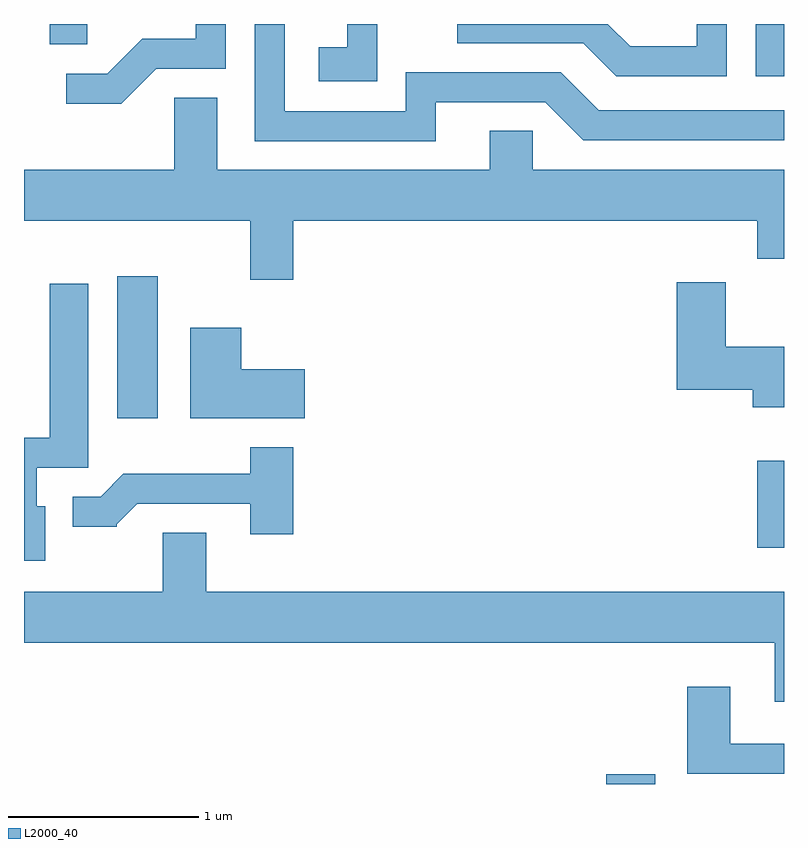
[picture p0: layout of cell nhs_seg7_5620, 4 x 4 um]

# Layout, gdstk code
import gdstk
lib = gdstk.Library(unit=1e-6, precision=1e-09)
def R(c, l, rs):  # rectangles x0, y0, x1, y1
    for r in rs: c.add(gdstk.rectangle(r[:2], r[2:], *l))
def P(c, l, *ps):  # polygons
    for p in ps: c.add(gdstk.Polygon(p, *l))
L2000_40 = (2000, 40)

nhs_seg7_5620 = lib.new_cell('nhs_seg7_5620')
R(nhs_seg7_5620, L2000_40, [(360.676,1700.252,360.934,1700.304), (361.471,1701.496,361.611,1701.954), (358.101,1702.176,358.314,1702.924), (361.461,1703.976,361.611,1704.252), (357.746,1704.146,357.944,1704.252)])
P(nhs_seg7_5620, L2000_40, [(361.309,1704.252),(361.151,1704.252),(361.151,1704.134),(360.802,1704.134),(360.684,1704.252),(359.891,1704.252),(359.891,1704.151),(360.554,1704.151),(360.729,1703.976),(361.309,1703.976)],
  [(358.307,1704.016),(358.674,1704.016),(358.674,1704.252),(358.516,1704.252),(358.516,1704.174),(358.234,1704.174),(358.049,1703.989),(357.833,1703.989),(357.833,1703.831),(358.122,1703.831)],
  [(359.779,1703.841),(360.354,1703.841),(360.554,1703.641),(361.611,1703.641),(361.611,1703.799),(360.637,1703.799),(360.437,1703.999),(359.621,1703.999),(359.621,1703.794),(358.984,1703.794),(358.984,1704.252),(358.826,1704.252),(358.826,1703.636),(359.779,1703.636)],
  [(359.469,1704.252),(359.311,1704.252),(359.311,1704.129),(359.161,1704.129),(359.161,1703.951),(359.469,1703.951)],
  [(359.029,1703.216),(361.471,1703.216),(361.471,1703.016),(361.611,1703.016),(361.611,1703.484),(360.289,1703.484),(360.289,1703.689),(360.061,1703.689),(360.061,1703.484),(358.629,1703.484),(358.629,1703.864),(358.401,1703.864),(358.401,1703.484),(357.611,1703.484),(357.611,1703.216),(358.801,1703.216),(358.801,1702.906),(359.029,1702.906)],
  [(361.611,1702.554),(361.304,1702.554),(361.304,1702.894),(361.046,1702.894),(361.046,1702.326),(361.446,1702.326),(361.446,1702.236),(361.611,1702.236)],
  [(357.724,1701.714),(357.679,1701.714),(357.679,1701.916),(357.949,1701.916),(357.949,1702.884),(357.746,1702.884),(357.746,1702.074),(357.611,1702.074),(357.611,1701.426),(357.724,1701.426)],
  [(359.089,1702.434),(358.754,1702.434),(358.754,1702.654),(358.486,1702.654),(358.486,1702.176),(359.089,1702.176)],
  [(359.029,1702.024),(358.801,1702.024),(358.801,1701.884),(358.134,1701.884),(358.014,1701.764),(357.868,1701.764),(357.868,1701.606),(358.1,1701.606),(358.1,1701.62),(358.207,1701.726),(358.801,1701.726),(358.801,1701.566),(359.029,1701.566)],
  [(361.611,1701.264),(358.569,1701.264),(358.569,1701.574),(358.341,1701.574),(358.341,1701.264),(357.611,1701.264),(357.611,1700.996),(361.561,1700.996),(361.561,1700.686),(361.611,1700.686)],
  [(361.611,1700.464),(361.329,1700.464),(361.329,1700.764),(361.101,1700.764),(361.101,1700.306),(361.611,1700.306)])

lib.write_gds('nhs_seg7_5620.gds')
